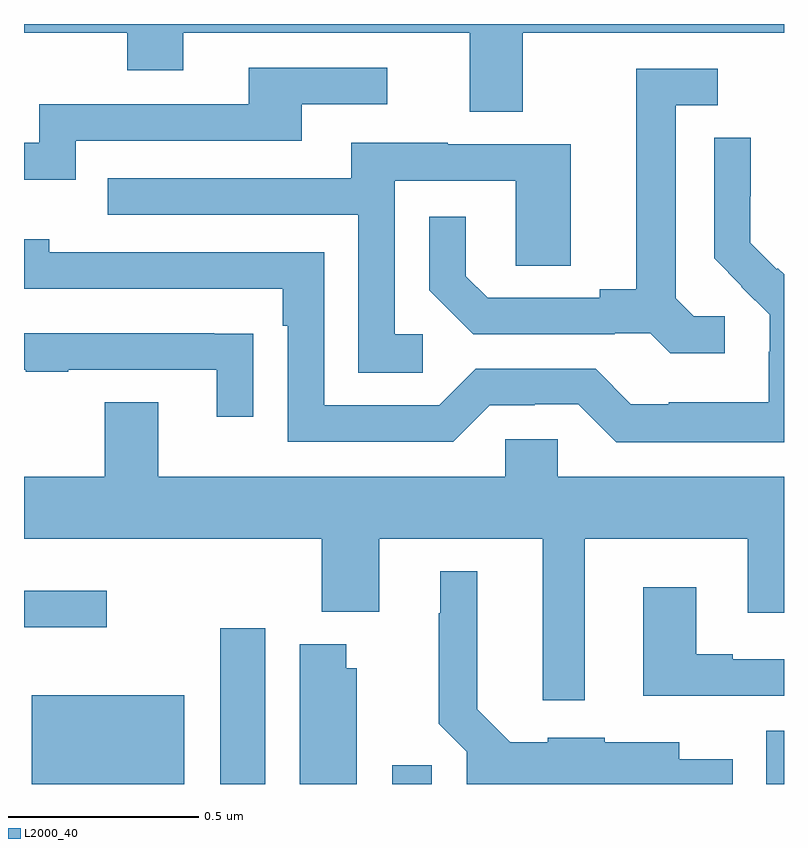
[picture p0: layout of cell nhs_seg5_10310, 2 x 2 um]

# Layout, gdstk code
import gdstk
lib = gdstk.Library(unit=1e-6, precision=1e-09)
def R(c, l, rs):  # rectangles x0, y0, x1, y1
    for r in rs: c.add(gdstk.rectangle(r[:2], r[2:], *l))
def P(c, l, *ps):  # polygons
    for p in ps: c.add(gdstk.Polygon(p, *l))
L2000_40 = (2000, 40)

nhs_seg5_10310 = lib.new_cell('nhs_seg5_10310')
R(nhs_seg5_10310, L2000_40, [(245.021,838.799,245.422,839.032), (245.516,838.799,245.635,839.209), (245.969,838.799,246.073,838.849), (246.953,838.799,247,838.939), (245,839.211,245.218,839.308)])
P(nhs_seg5_10310, L2000_40, [(246.313,840.776),(247,840.776),(247,840.799),(245,840.799),(245,840.776),(245.272,840.776),(245.272,840.677),(245.419,840.677),(245.419,840.776),(246.173,840.776),(246.173,840.568),(246.313,840.568)],
  [(245.136,840.492),(245.731,840.492),(245.731,840.588),(245.956,840.588),(245.956,840.684),(245.591,840.684),(245.591,840.588),(245.04,840.588),(245.04,840.486),(245,840.486),(245,840.389),(245.136,840.389)],
  [(246.844,840.03),(246.762,840.03),(246.715,840.077),(246.715,840.585),(246.826,840.585),(246.826,840.681),(246.611,840.681),(246.611,840.101),(246.515,840.101),(246.515,840.078),(246.22,840.078),(246.163,840.135),(246.163,840.292),(246.066,840.292),(246.066,840.098),(246.182,839.982),(246.554,839.982),(246.554,839.985),(246.648,839.985),(246.7,839.933),(246.844,839.933)],
  [(247,840.14),(246.984,840.156),(246.981,840.153),(246.911,840.224),(246.911,840.346),(246.912,840.346),(246.912,840.5),(246.816,840.5),(246.816,840.182),(246.889,840.109),(246.888,840.108),(246.962,840.034),(246.962,839.937),(246.96,839.937),(246.96,839.803),(246.697,839.803),(246.697,839.799),(246.597,839.799),(246.504,839.892),(246.189,839.892),(246.093,839.796),(245.79,839.796),(245.79,840.198),(245.066,840.198),(245.066,840.232),(245,840.232),(245,840.102),(245.681,840.102),(245.681,840.005),(245.694,840.005),(245.694,839.7),(246.129,839.7),(246.225,839.796),(246.344,839.796),(246.344,839.799),(246.459,839.799),(246.559,839.699),(247,839.699)],
  [(246.049,839.982),(245.976,839.982),(245.976,840.387),(246.294,840.387),(246.294,840.163),(246.439,840.163),(246.439,840.483),(246.115,840.483),(246.115,840.487),(245.861,840.487),(245.861,840.393),(245.221,840.393),(245.221,840.297),(245.88,840.297),(245.88,839.881),(246.049,839.881)],
  [(245.603,839.984),(245.501,839.984),(245.501,839.985),(245,839.985),(245,839.889),(245.005,839.889),(245.005,839.884),(245.117,839.884),(245.117,839.889),(245.507,839.889),(245.507,839.766),(245.603,839.766)],
  [(246.475,839.444),(246.905,839.444),(246.905,839.25),(247,839.25),(247,839.608),(246.405,839.608),(246.405,839.706),(246.267,839.706),(246.267,839.608),(245.353,839.608),(245.353,839.803),(245.213,839.803),(245.213,839.608),(245,839.608),(245,839.444),(245.783,839.444),(245.783,839.252),(245.935,839.252),(245.935,839.444),(246.365,839.444),(246.365,839.019),(246.475,839.019)],
  [(246.865,838.864),(246.724,838.864),(246.724,838.909),(246.528,838.909),(246.528,838.921),(246.378,838.921),(246.378,838.909),(246.279,838.909),(246.193,838.996),(246.193,839.359),(246.095,839.359),(246.095,839.249),(246.091,839.249),(246.091,838.958),(246.165,838.884),(246.165,838.799),(246.865,838.799)],
  [(247,839.127),(246.865,839.127),(246.865,839.14),(246.769,839.14),(246.769,839.317),(246.629,839.317),(246.629,839.031),(247,839.031)],
  [(245.875,839.103),(245.848,839.103),(245.848,839.167),(245.726,839.167),(245.726,838.799),(245.875,838.799)])

lib.write_gds('nhs_seg5_10310.gds')
